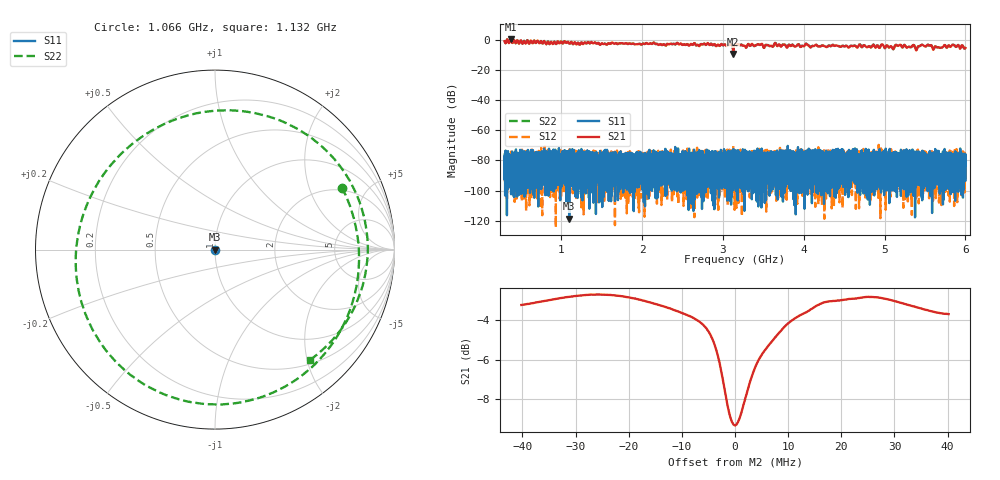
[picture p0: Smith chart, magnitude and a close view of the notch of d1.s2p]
!Agilent Technologies,N5230C,SG49000117,A.08.50.07
!Agilent N5230C: A.08.50.07
!Date: Sunday, March 17, 2024 02:34:15
!Correction: S11(Off)
!S21(Off)
!S12(Off)
!S22(Off)
!S2P File: Measurements: S11, S21, S12, S22:
# Hz S  RI  R 50
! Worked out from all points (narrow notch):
!   20001 points, 300 MHz to 6 GHz, reference 50 ohm
!   highest |S21| = 0.48 dB at 374.4 MHz (marker M1); lowest = -9.3 dB at 3.127 GHz (marker M2)
!   notch at M2: 6.0 dB deep, 6.72 MHz wide at half that depth
!   lowest |S11| = -118.7 dB at 1.099 GHz (marker M3), VSWR 1.00, Z = 50 - j9.61e-05 ohm
!   |S11| at or under -10 dB: start of sweep to end of sweep
!   |S22| runs from -9.3 to 0.5 dB; largest |S21 - S12| = 1.1
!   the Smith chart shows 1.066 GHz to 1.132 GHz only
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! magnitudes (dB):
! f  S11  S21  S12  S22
! 300 MHz  -76.1  -0.9  -82.7  -0.8
! 328.8 MHz  -92.0  0.1  -105.4  0.1
! 374.4 MHz  -82.5  0.5  -83.0  0.5
! 1.099 GHz  -118.7  -2.3  -81.1  -2.3
! 1.25 GHz  -80.9  -1.7  -87.9  -1.7
! 2.2 GHz  -82.4  -3.3  -82.4  -3.3
! 3.127 GHz  -98.6  -9.3  -79.1  -9.3
! 3.15 GHz  -80.3  -2.9  -78.1  -2.9
! 3.46 GHz  -82.7  -3.4  -76.8  -3.4
! 3.597 GHz  -78.4  -3.8  -84.5  -3.7
! 3.98 GHz  -74.1  -3.9  -82.8  -3.9
! 4.039 GHz  -79.0  -2.9  -77.8  -2.8
! 4.1 GHz  -82.1  -4.3  -81.5  -4.2
! 5.05 GHz  -81.1  -4.9  -75.9  -4.9
! 5.1 GHz  -89.9  -5.8  -88.6  -5.7
! 5.173 GHz  -82.9  -3.9  -87.4  -3.9
! 5.401 GHz  -86.2  -5.9  -84.4  -5.9
! 5.449 GHz  -81.5  -3.6  -79.5  -3.6
! 5.552 GHz  -83.1  -3.7  -92.1  -3.8
! 5.618 GHz  -77.7  -4.8  -86.5  -4.8
! 5.85 GHz  -89.3  -3.2  -84.8  -3.3
! 6 GHz  -83.0  -5.4  -89.5  -5.4
